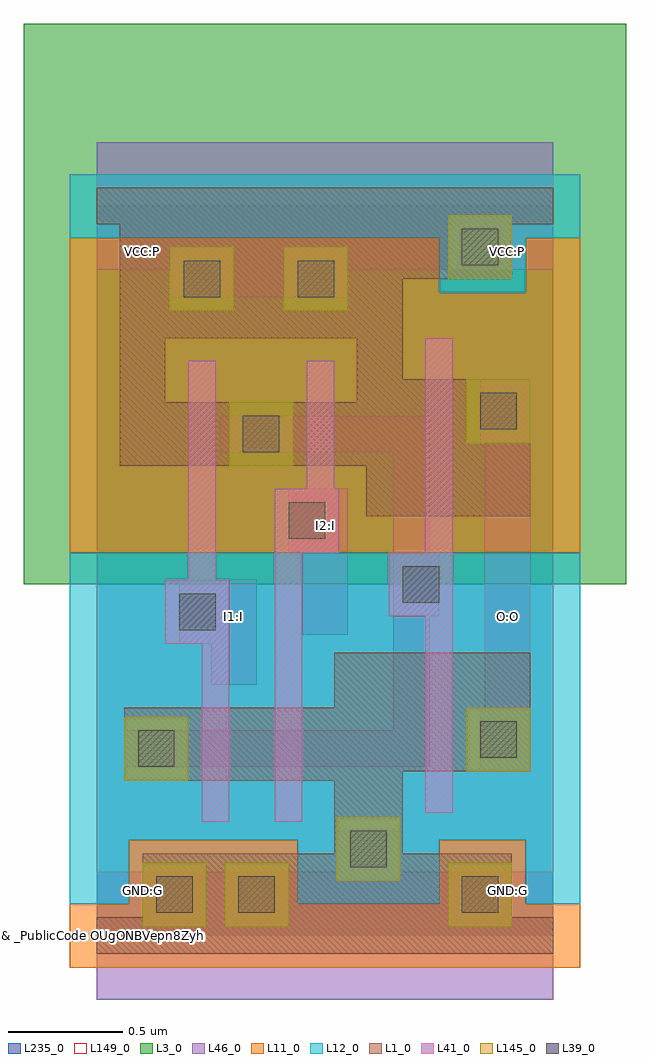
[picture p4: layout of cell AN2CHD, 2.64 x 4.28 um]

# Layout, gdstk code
from math import pi, radians
import gdstk
lib = gdstk.Library(unit=1e-6, precision=1e-09)
def R(c, l, rs):  # rectangles x0, y0, x1, y1
    for r in rs: c.add(gdstk.rectangle(r[:2], r[2:], *l))
def P(c, l, *ps):  # polygons
    for p in ps: c.add(gdstk.Polygon(p, *l))
L1_0 = (1, 0)
L3_0 = (3, 0)
L11_0 = (11, 0)
L12_0 = (12, 0)
L39_0 = (39, 0)
L41_0 = (41, 0)
L46_0 = (46, 0)
L145_0 = (145, 0)
L149_0 = (149, 0)
L235_0 = (235, 0)

c_mc = lib.new_cell('MC')
R(c_mc, L39_0, [(-0.08,-0.08,0.08,0.08)])
R(c_mc, L46_0, [(-0.08,-0.14,0.08,0.14)])
R(c_mc, L145_0, [(-0.14,-0.14,0.14,0.14)])

c_pc = lib.new_cell('PC')
R(c_pc, L39_0, [(-0.08,-0.08,0.08,0.08)])
R(c_pc, L41_0, [(-0.14,-0.14,0.14,0.14)])
R(c_pc, L46_0, [(-0.08,-0.14,0.08,0.14)])

hhlenmcjmof__41gum4xw0 = lib.new_cell('HHLENMCJMOF$$41Gum4XW0')
R(hhlenmcjmof__41gum4xw0, L1_0, [(0,-0.08,2,0.08), (0.2,0.08,1.04,0.36), (1.34,0.08,1.82,0.36), (0.12,0.68,1.04,1), (0,3.12,2,3.28)])
P(hhlenmcjmof__41gum4xw0, L1_0, [(1.9,2.44),(1.34,2.44),(1.34,2.88),(1.82,2.88),(1.82,3.12),(1.14,3.12),(1.14,2.34),(0.3,2.34),(0.3,2.62),(1.14,2.62),(1.14,3.12),(0.1,3.12),(0.1,2.06),(1.18,2.06),(1.18,1.84),(1.9,1.84)],
  [(1.9,1.24),(1.04,1.24),(1.04,0.08),(1.34,0.08),(1.34,0.72),(1.9,0.72)])
R(hhlenmcjmof__41gum4xw0, L3_0, [(-0.32,1.54,2.32,4)])
R(hhlenmcjmof__41gum4xw0, L11_0, [(0.14,0.14,0.88,0.42)])
P(hhlenmcjmof__41gum4xw0, L11_0, [(2.12,0.14),(1.88,0.14),(1.88,0.42),(1.5,0.42),(1.5,0.14),(-0.12,0.14),(-0.12,-0.14),(2.12,-0.14)],
  [(2.12,3.06),(1.88,3.06),(1.88,2.82),(1.5,2.82),(1.5,3.06),(-0.12,3.06),(-0.12,1.68),(2.12,1.68)])
R(hhlenmcjmof__41gum4xw0, L12_0, [(1.5,2.82,1.88,3.06), (-0.12,3.06,2.12,3.34)])
P(hhlenmcjmof__41gum4xw0, L12_0, [(2.12,1.68),(-0.12,1.68),(-0.12,0.14),(0.14,0.14),(0.14,0.42),(0.88,0.42),(0.88,0.14),(1.5,0.14),(1.5,0.42),(1.88,0.42),(1.88,0.14),(2.12,0.14)])
R(hhlenmcjmof__41gum4xw0, L46_0, [(1.05,0.28,1.33,0.46), (0.32,2.8,1.1,2.92)])
R(hhlenmcjmof__41gum4xw0, L149_0, [(0,0,2,3.2)])
R(hhlenmcjmof__41gum4xw0, L235_0, [(0,0,2,3.2), (0,0,2,3.2), (0,0,2,3.2), (0,0,2,3.2), (0,0,2,3.2), (0,0,2,3.2), (0,0,2,3.2), (0,0,2,3.2), (0,0,2,3.2), (0,0,2,3.2), (0,0,2,3.2), (0,0,2,3.2), (0,0,2,3.2)])
hhlenmcjmof__41gum4xw0.add(gdstk.FlexPath([(1.5,0.54),(1.5,2.62)], 0.12, ends="flush", simple_path=True, layer=41, datatype=0))  # L41_0
hhlenmcjmof__41gum4xw0.add(gdstk.FlexPath([(0.46,2.52),(0.46,1.5),(0.52,1.5),(0.52,0.5)], 0.12, ends="flush", simple_path=True, layer=41, datatype=0))  # L41_0
hhlenmcjmof__41gum4xw0.add(gdstk.FlexPath([(0.98,2.52),(0.98,1.9),(0.84,1.9),(0.84,0.5)], 0.12, ends="flush", simple_path=True, layer=41, datatype=0))  # L41_0
hhlenmcjmof__41gum4xw0.add(gdstk.FlexPath([(0,3),(2,3)], 0, ends="flush", simple_path=True, layer=145, datatype=0))  # L145_0
hhlenmcjmof__41gum4xw0.add(gdstk.FlexPath([(0,2.6),(2,2.6)], 0, ends="flush", simple_path=True, layer=145, datatype=0))  # L145_0
hhlenmcjmof__41gum4xw0.add(gdstk.FlexPath([(0,2.2),(2,2.2)], 0, ends="flush", simple_path=True, layer=145, datatype=0))  # L145_0
hhlenmcjmof__41gum4xw0.add(gdstk.FlexPath([(0,1.8),(2,1.8)], 0, ends="flush", simple_path=True, layer=145, datatype=0))  # L145_0
hhlenmcjmof__41gum4xw0.add(gdstk.FlexPath([(0,1.4),(2,1.4)], 0, ends="flush", simple_path=True, layer=145, datatype=0))  # L145_0
hhlenmcjmof__41gum4xw0.add(gdstk.FlexPath([(0,1),(2,1)], 0, ends="flush", simple_path=True, layer=145, datatype=0))  # L145_0
hhlenmcjmof__41gum4xw0.add(gdstk.FlexPath([(0,0.6),(2,0.6)], 0, ends="flush", simple_path=True, layer=145, datatype=0))  # L145_0
hhlenmcjmof__41gum4xw0.add(gdstk.FlexPath([(0,0.2),(2,0.2)], 0, ends="flush", simple_path=True, layer=145, datatype=0))  # L145_0
hhlenmcjmof__41gum4xw0.add(gdstk.FlexPath([(1.8,0),(1.8,3.2)], 0, ends="flush", simple_path=True, layer=145, datatype=0))  # L145_0
hhlenmcjmof__41gum4xw0.add(gdstk.FlexPath([(1.4,0),(1.4,3.2)], 0, ends="flush", simple_path=True, layer=145, datatype=0))  # L145_0
hhlenmcjmof__41gum4xw0.add(gdstk.FlexPath([(1,0),(1,3.2)], 0, ends="flush", simple_path=True, layer=145, datatype=0))  # L145_0
hhlenmcjmof__41gum4xw0.add(gdstk.FlexPath([(0.6,0),(0.6,3.2)], 0, ends="flush", simple_path=True, layer=145, datatype=0))  # L145_0
hhlenmcjmof__41gum4xw0.add(gdstk.FlexPath([(0.2,0),(0.2,3.2)], 0, ends="flush", simple_path=True, layer=145, datatype=0))  # L145_0
hhlenmcjmof__41gum4xw0.add(gdstk.FlexPath([(0.54,2.2),(1.38,2.2),(1.38,0.82),(0.12,0.82)], 0.16, ends="flush", simple_path=True, layer=46, datatype=0))  # L46_0
hhlenmcjmof__41gum4xw0.add(gdstk.FlexPath([(1.8,0.72),(1.8,2.44)], 0.2, ends="flush", simple_path=True, layer=46, datatype=0))  # L46_0
hhlenmcjmof__41gum4xw0.add(gdstk.FlexPath([(0.6,1.1),(0.6,1.56)], 0.2, ends="flush", simple_path=True, layer=46, datatype=0))  # L46_0
hhlenmcjmof__41gum4xw0.add(gdstk.FlexPath([(1,1.32),(1,1.96)], 0.2, ends="flush", simple_path=True, layer=46, datatype=0))  # L46_0
hhlenmcjmof__41gum4xw0.add(gdstk.FlexPath([(0,3.2),(2,3.2)], 0.56, ends="flush", simple_path=True, layer=46, datatype=0))  # L46_0
hhlenmcjmof__41gum4xw0.add(gdstk.FlexPath([(0,0),(2,0)], 0.56, ends="flush", simple_path=True, layer=46, datatype=0))  # L46_0
r = gdstk.Reference(c_mc, (0.72,2.2), rotation=pi/2); r.repetition = gdstk.Repetition(1, 1, v1=(0,0.28), v2=(-0.32,0)); hhlenmcjmof__41gum4xw0.add(r)
r = gdstk.Reference(c_mc, (0.34,0.18), rotation=pi/2); r.repetition = gdstk.Repetition(1, 1, v1=(0,0.28), v2=(-0.32,0)); hhlenmcjmof__41gum4xw0.add(r)
r = gdstk.Reference(c_mc, (1.68,0.18), rotation=pi/2, x_reflection=True); r.repetition = gdstk.Repetition(1, 1, v1=(0,0.28), v2=(0.32,0)); hhlenmcjmof__41gum4xw0.add(r)
r = gdstk.Reference(c_mc, (1.19,0.38), rotation=pi/2); r.repetition = gdstk.Repetition(1, 1, v1=(0,0.28), v2=(-0.32,0)); hhlenmcjmof__41gum4xw0.add(r)
r = gdstk.Reference(c_mc, (0.7,0.18), rotation=pi/2); r.repetition = gdstk.Repetition(1, 1, v1=(0,0.28), v2=(-0.32,0)); hhlenmcjmof__41gum4xw0.add(r)
r = gdstk.Reference(c_mc, (1.68,3.02), rotation=pi/2); r.repetition = gdstk.Repetition(1, 1, v1=(0,0.28), v2=(-0.32,0)); hhlenmcjmof__41gum4xw0.add(r)
r = gdstk.Reference(c_mc, (0.96,2.88), rotation=pi/2); r.repetition = gdstk.Repetition(1, 1, v1=(0,0.28), v2=(-0.32,0)); hhlenmcjmof__41gum4xw0.add(r)
r = gdstk.Reference(c_mc, (1.76,0.86)); r.repetition = gdstk.Repetition(1, 1, v1=(0.28,0), v2=(0,0.32)); hhlenmcjmof__41gum4xw0.add(r)
r = gdstk.Reference(c_mc, (0.26,0.82), rotation=pi/2); r.repetition = gdstk.Repetition(1, 1, v1=(0,0.28), v2=(-0.32,0)); hhlenmcjmof__41gum4xw0.add(r)
r = gdstk.Reference(c_mc, (0.46,2.88), rotation=pi/2); r.repetition = gdstk.Repetition(1, 1, v1=(0,0.28), v2=(-0.32,0)); hhlenmcjmof__41gum4xw0.add(r)
r = gdstk.Reference(c_mc, (1.76,2.3)); r.repetition = gdstk.Repetition(1, 1, v1=(0.28,0), v2=(0,0.32)); hhlenmcjmof__41gum4xw0.add(r)
r = gdstk.Reference(c_pc, (0.92,1.82)); r.repetition = gdstk.Repetition(1, 1, v1=(0.28,0), v2=(0,0.32)); hhlenmcjmof__41gum4xw0.add(r)
r = gdstk.Reference(c_pc, (1.42,1.54)); r.repetition = gdstk.Repetition(1, 1, v1=(0.28,0), v2=(0,0.32)); hhlenmcjmof__41gum4xw0.add(r)
r = gdstk.Reference(c_pc, (0.44,1.42)); r.repetition = gdstk.Repetition(1, 1, v1=(0.28,0), v2=(0,0.32)); hhlenmcjmof__41gum4xw0.add(r)
hhlenmcjmof__41gum4xw0.add(gdstk.Label('#Id:7JQJaQKD4XF6RXVV5bbWNLABMd9CZLGaK99JL0406EKC574A4A3EOSP8MXXWHY99T6WBH22210RAL9', (0.02,0.02), layer=147, texttype=0))
hhlenmcjmof__41gum4xw0.add(gdstk.Label('I1:I', (0.6,1.4), layer=101, texttype=0))
hhlenmcjmof__41gum4xw0.add(gdstk.Label('I2:I', (1,1.8), layer=101, texttype=0))
hhlenmcjmof__41gum4xw0.add(gdstk.Label('GND:G', (0.2,0.2), layer=101, texttype=0))
hhlenmcjmof__41gum4xw0.add(gdstk.Label('VCC:P', (1.8,3), layer=101, texttype=0))
hhlenmcjmof__41gum4xw0.add(gdstk.Label('VCC:P', (0.2,3), layer=101, texttype=0))
hhlenmcjmof__41gum4xw0.add(gdstk.Label('O:O', (1.8,1.4), layer=101, texttype=0))
hhlenmcjmof__41gum4xw0.add(gdstk.Label('GND:G', (1.8,0.2), layer=101, texttype=0))
hhlenmcjmof__41gum4xw0.add(gdstk.Label('AN2CHD', (0,0), layer=144, texttype=0))

an2chd = lib.new_cell('AN2CHD')
R(an2chd, L149_0, [(0,0,2,3.2)])
an2chd.add(gdstk.Reference(hhlenmcjmof__41gum4xw0, (0,0)))
an2chd.add(gdstk.Label('& _PublicCode OUgONBVepn8Zyhuhb7nzKSFGv0ozQ4p7', (0,0), layer=3, texttype=0))
an2chd.add(gdstk.Label('& Metric 6.40', (0,0), layer=3, texttype=0))
an2chd.add(gdstk.Label('& Version 2009Q1V3.0', (0,0), layer=3, texttype=0))
an2chd.add(gdstk.Label('& Product FSC0H_D_GENERIC_CORE', (0,0), layer=3, texttype=0))
an2chd.add(gdstk.Label('& Vendor Faraday_Technology_Corp.', (0,0), layer=3, texttype=0))
an2chd.add(gdstk.Label('#Id:7JQJaQKD4XF6RXVV5bbWNLABMd9CZLGaK99JL0406EKC574A4A3EOSP8MXXWHY99T6WBH22210RAL9', (0.02,0.02), layer=147, texttype=0))
an2chd.add(gdstk.Label('I1:I', (0.6,1.4), layer=101, texttype=0))
an2chd.add(gdstk.Label('I2:I', (1,1.8), layer=101, texttype=0))
an2chd.add(gdstk.Label('GND:G', (0.2,0.2), layer=101, texttype=0))
an2chd.add(gdstk.Label('VCC:P', (1.8,3), layer=101, texttype=0))
an2chd.add(gdstk.Label('VCC:P', (0.2,3), layer=101, texttype=0))
an2chd.add(gdstk.Label('O:O', (1.8,1.4), layer=101, texttype=0))
an2chd.add(gdstk.Label('GND:G', (1.8,0.2), layer=101, texttype=0))
an2chd.add(gdstk.Label('AN2CHD', (0,0), layer=144, texttype=0))

lib.write_gds('AN2CHD.gds')
